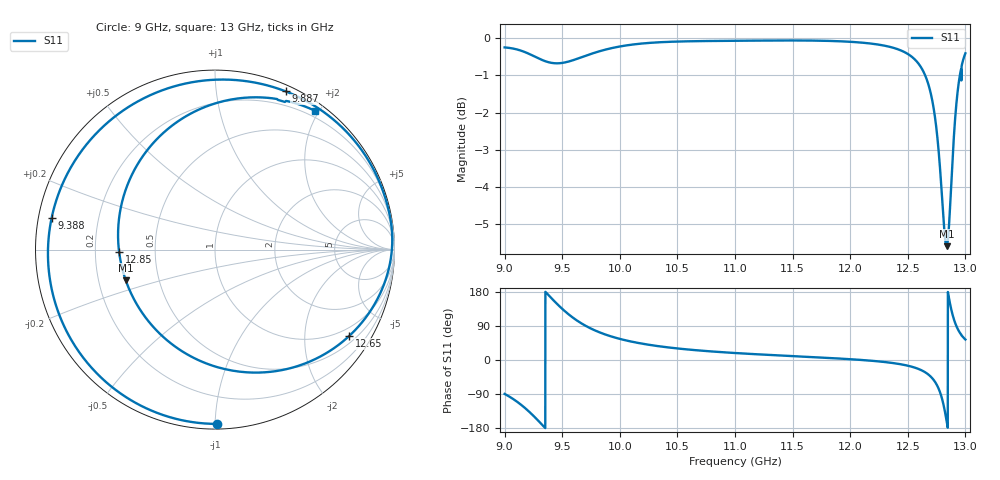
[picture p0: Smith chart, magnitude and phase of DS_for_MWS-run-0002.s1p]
! TOUCHSTONE file generated by CST DESIGN STUDIO
! Date and time: Tue Feb  4 17:43:43 2025
! Project name: C:\Work\MatlabApps\UnitCellOptimizationMatlab\CST\unitcell.cst
! Tree item: Tasks\Sweep1\SPara1\S-Parameters
! Header version: 2024
! Port assignment regex: !\s*Touchstone port\s*([0-9]+)\s*=\s*(CST MWS port|CST DES external port|CST DES block port)\s*(.+)\s* \(\"(.*)\"\)(\s*mode\s*([0-9]+))?.*
! Touchstone port assignment:
! Touchstone port 1 = CST DES external port 1 ("")
# GHz S MA R 50
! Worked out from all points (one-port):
!   4001 points, 9 GHz to 13 GHz, reference 50 ohm
!   lowest |S11| = -5.6 dB at 12.84 GHz (marker M1), VSWR 3.22, Z = 15.9 - j7.56 ohm
!   |S11| at or under -10 dB: nowhere
!   S11 on the Smith chart (normalised r, x): 9 GHz: 0.03, -1.01; 9.388 GHz: 0.04, +0.10; 9.887 GHz: 0.06, +1.54; 12.65 GHz: 0.71, -3.26; 12.85 GHz: 0.30, -0.01; 13 GHz: 0.11, +1.95
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9  0.9711 -89.5
9.101  0.9656 -108.5
9.188  0.9556 -129.6
9.296  0.9385 -161.4
9.388  0.9272 169.0
9.5  0.9257 135.1
9.574  0.9314 116.1
9.656  0.9406 98.7
9.769  0.9539 80.2
9.887  0.9655 66.0
10  0.9739 55.7
10.217  0.9836 41.9
10.5  0.9888 30.5
11  0.9912 18.4
11.5  0.9922 10.3
12  0.9881 2.1
12.3  0.9762 -5.4
12.5  0.9517 -15.0
12.653  0.8891 -32.8
12.72  0.8124 -50.8
12.774  0.6869 -80.3
12.806  0.5833 -112.7
12.837  0.5259 -160.9
12.847  0.5345 -178.7
12.874  0.6231 138.0
12.912  0.7834 97.0
12.959  0.9033 68.7
13  0.9536 54.1
